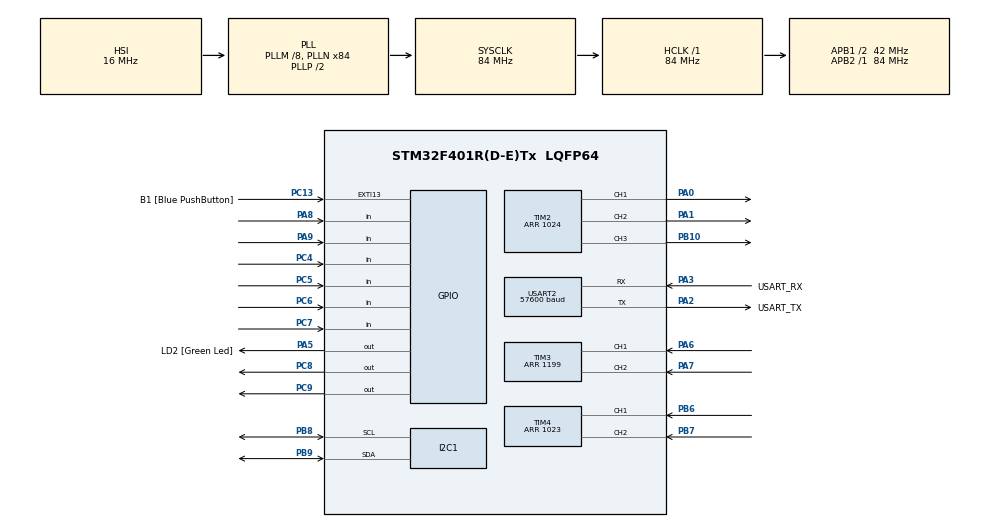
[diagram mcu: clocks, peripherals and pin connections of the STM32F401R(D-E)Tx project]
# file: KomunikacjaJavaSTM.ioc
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Dma.I2C1_TX.1.Direction=DMA_MEMORY_TO_PERIPH
Dma.I2C1_TX.1.FIFOMode=DMA_FIFOMODE_DISABLE
Dma.I2C1_TX.1.Instance=DMA1_Stream7
Dma.I2C1_TX.1.MemDataAlignment=DMA_MDATAALIGN_BYTE
Dma.I2C1_TX.1.MemInc=DMA_MINC_ENABLE
Dma.I2C1_TX.1.Mode=DMA_NORMAL
Dma.I2C1_TX.1.PeriphDataAlignment=DMA_PDATAALIGN_BYTE
Dma.I2C1_TX.1.PeriphInc=DMA_PINC_DISABLE
Dma.I2C1_TX.1.Priority=DMA_PRIORITY_LOW
Dma.Request0=USART2_RX
Dma.Request1=I2C1_TX
Dma.USART2_RX.0.Direction=DMA_PERIPH_TO_MEMORY
Dma.USART2_RX.0.FIFOMode=DMA_FIFOMODE_DISABLE
Dma.USART2_RX.0.Instance=DMA1_Stream5
Dma.USART2_RX.0.MemDataAlignment=DMA_MDATAALIGN_BYTE
Dma.USART2_RX.0.MemInc=DMA_MINC_ENABLE
Dma.USART2_RX.0.Mode=DMA_NORMAL
Dma.USART2_RX.0.PeriphDataAlignment=DMA_PDATAALIGN_BYTE
Dma.USART2_RX.0.PeriphInc=DMA_PINC_DISABLE
Dma.USART2_RX.0.Priority=DMA_PRIORITY_VERY_HIGH
I2C1.I2C_Mode=I2C_Fast
Mcu.Family=STM32F4
Mcu.Name=STM32F401R(D-E)Tx
Mcu.Package=LQFP64
NVIC.DMA1_Stream5_IRQn=true\:0\:0\:false\:false\:true\:false\:true
NVIC.DMA1_Stream7_IRQn=true\:0\:0\:false\:false\:true\:false\:true
NVIC.I2C1_EV_IRQn=true\:0\:0\:false\:false\:true\:true\:true
NVIC.PriorityGroup=NVIC_PRIORITYGROUP_0
NVIC.TIM2_IRQn=true\:0\:0\:false\:false\:true\:true\:true
NVIC.TIM3_IRQn=true\:0\:2\:false\:false\:true\:true\:true
NVIC.TIM4_IRQn=true\:0\:2\:false\:false\:true\:true\:true
NVIC.USART2_IRQn=true\:0\:0\:false\:false\:true\:true\:true
PA0-WKUP.Signal=S_TIM2_CH1_ETR
PA1.Signal=S_TIM2_CH2
PA13.GPIO_Label=TMS
PA13.Mode=Serial_Wire
PA13.Signal=SYS_JTMS-SWDIO
PA14.GPIO_Label=TCK
PA14.Mode=Serial_Wire
PA14.Signal=SYS_JTCK-SWCLK
PA2.GPIO_Label=USART_TX
PA2.GPIO_Mode=GPIO_MODE_AF_PP
PA2.GPIO_PuPd=GPIO_NOPULL
PA2.GPIO_Speed=GPIO_SPEED_FREQ_LOW
PA2.Mode=Asynchronous
PA2.Signal=USART2_TX
PA3.GPIO_Label=USART_RX
PA3.GPIO_Mode=GPIO_MODE_AF_PP
PA3.GPIO_PuPd=GPIO_NOPULL
PA3.GPIO_Speed=GPIO_SPEED_FREQ_LOW
PA3.Mode=Asynchronous
PA3.Signal=USART2_RX
PA5.GPIO_Label=LD2 [Green Led]
PA5.GPIO_Mode=GPIO_MODE_OUTPUT_PP
PA5.GPIO_PuPd=GPIO_NOPULL
PA5.GPIO_Speed=GPIO_SPEED_FREQ_LOW
PA5.Signal=GPIO_Output
PA6.Signal=S_TIM3_CH1
PA7.Signal=S_TIM3_CH2
PA8.GPIO_PuPd=GPIO_PULLUP
PA8.Signal=GPIO_Input
PA9.GPIO_PuPd=GPIO_PULLUP
PA9.Signal=GPIO_Input
PB10.Signal=S_TIM2_CH3
PB3.GPIO_Label=SWO
PB3.Signal=SYS_JTDO-SWO
PB6.Signal=S_TIM4_CH1
PB7.Signal=S_TIM4_CH2
PB8.Mode=I2C
PB8.Signal=I2C1_SCL
PB9.Mode=I2C
PB9.Signal=I2C1_SDA
PC13-ANTI_TAMP.GPIO_Label=B1 [Blue PushButton]
PC13-ANTI_TAMP.GPIO_ModeDefaultEXTI=GPIO_MODE_IT_FALLING
PC13-ANTI_TAMP.GPIO_PuPd=GPIO_NOPULL
PC13-ANTI_TAMP.Signal=GPXTI13
PC14-OSC32_IN.Mode=LSE-External-Oscillator
PC14-OSC32_IN.Signal=RCC_OSC32_IN
PC15-OSC32_OUT.Mode=LSE-External-Oscillator
PC15-OSC32_OUT.Signal=RCC_OSC32_OUT
PC4.GPIO_PuPd=GPIO_PULLUP
PC4.Signal=GPIO_Input
PC5.GPIO_PuPd=GPIO_PULLUP
PC5.Signal=GPIO_Input
PC6.GPIO_PuPd=GPIO_PULLUP
PC6.Signal=GPIO_Input
PC7.GPIO_PuPd=GPIO_PULLUP
PC7.Signal=GPIO_Input
PC8.GPIO_Speed=GPIO_SPEED_FREQ_VERY_HIGH
PC8.PinState=GPIO_PIN_SET
PC8.Signal=GPIO_Output
PC9.GPIO_Speed=GPIO_SPEED_FREQ_VERY_HIGH
PC9.PinState=GPIO_PIN_SET
PC9.Signal=GPIO_Output
PH0\ -\ OSC_IN.Mode=HSE-External-Oscillator
PH0\ -\ OSC_IN.Signal=RCC_OSC_IN
PH1\ -\ OSC_OUT.Mode=HSE-External-Oscillator
PH1\ -\ OSC_OUT.Signal=RCC_OSC_OUT
ProjectManager.HeapSize=0x200
ProjectManager.StackSize=0x400
ProjectManager.TargetToolchain=STM32CubeIDE
RCC.48MHZClocksFreq_Value=24000000
RCC.AHBFreq_Value=84000000
RCC.APB1CLKDivider=RCC_HCLK_DIV2
RCC.APB1Freq_Value=42000000
RCC.APB1TimFreq_Value=84000000
RCC.APB2Freq_Value=84000000
RCC.APB2TimFreq_Value=84000000
RCC.CortexFreq_Value=84000000
RCC.HCLKFreq_Value=84000000
RCC.HSE_VALUE=8000000
RCC.HSI_VALUE=16000000
RCC.PLLM=8
RCC.PLLN=84
RCC.PLLQ=7
RCC.SYSCLKFreq_VALUE=84000000
RCC.SYSCLKSource=RCC_SYSCLKSOURCE_PLLCLK
RCC.VCOOutputFreq_Value=168000000
SH.S_TIM2_CH1_ETR.0=TIM2_CH1,PWM Generation1 CH1
SH.S_TIM2_CH2.0=TIM2_CH2,PWM Generation2 CH2
SH.S_TIM2_CH3.0=TIM2_CH3,PWM Generation3 CH3
SH.S_TIM3_CH1.0=TIM3_CH1,Encoder_Interface
SH.S_TIM3_CH2.0=TIM3_CH2,Encoder_Interface
SH.S_TIM4_CH1.0=TIM4_CH1,Encoder_Interface
SH.S_TIM4_CH2.0=TIM4_CH2,Encoder_Interface
TIM2.Channel-PWM\ Generation1\ CH1=TIM_CHANNEL_1
TIM2.Channel-PWM\ Generation2\ CH2=TIM_CHANNEL_2
TIM2.Channel-PWM\ Generation3\ CH3=TIM_CHANNEL_3
TIM2.OCFastMode_PWM-PWM\ Generation1\ CH1=TIM_OCFAST_ENABLE
TIM2.Period=1024
TIM3.EncoderMode=TIM_ENCODERMODE_TI1
TIM3.IC1Filter=1
TIM3.IC2Filter=1
TIM3.Period=1199
TIM4.AutoReloadPreload=TIM_AUTORELOAD_PRELOAD_ENABLE
TIM4.ClockDivision=TIM_CLOCKDIVISION_DIV1
TIM4.EncoderMode=TIM_ENCODERMODE_TI1
TIM4.IC1Filter=0
TIM4.IC1Polarity=TIM_ICPOLARITY_FALLING
TIM4.IC1Prescaler=TIM_ICPSC_DIV1
TIM4.IC2Filter=0
TIM4.IC2Polarity=TIM_ICPOLARITY_FALLING
TIM4.IC2Prescaler=TIM_ICPSC_DIV1
TIM4.Period=1023
TIM4.TIM_MasterOutputTrigger=TIM_TRGO_RESET
TIM4.TIM_MasterSlaveMode=TIM_MASTERSLAVEMODE_DISABLE
USART2.BaudRate=57600
USART2.VirtualMode=VM_ASYNC
VP_TIM2_VS_ClockSourceINT.Mode=Internal
board=NUCLEO-F401RE

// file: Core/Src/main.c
/* USER CODE BEGIN Header */
/**
  ******************************************************************************
  * @file           : main.c
  * @brief          : Main program body
  ******************************************************************************
  * @attention
  *
  * Copyright (c) 2022 STMicroelectronics.
  * All rights reserved.
  *
  * This software is licensed under terms that can be found in the LICENSE file
  * in the root directory of this software component.
  * If no LICENSE file comes with this software, it is provided AS-IS.
  *
  ******************************************************************************
  */
/* USER CODE END Header */
#include "main.h"
#include "dma.h"
#include "i2c.h"
#include "tim.h"
#include "usart.h"
#include "gpio.h"

/* USER CODE BEGIN Includes */
#include <stdbool.h>
#include "string.h"
#include "GFX.h"
#include "displayAndControl2.h"
#include "engineControl2.h"

/* USER CODE END Includes */

/* USER CODE BEGIN PTD */
#define RxBuf_SIZE 35

/* USER CODE END PTD */

/* USER CODE BEGIN PM */

  // uint8_t communicationFrame  [13] = BIT STARTU= 0xFF , P , I , D , START , STOP , buttonLeft , buttonRight  , manual ,encoderUp,encoderDown,PWM, BIT STOPU = 0x00
 UART_HandleTypeDef huart2;
 DMA_HandleTypeDef hdma_usart2_rx;
 // P,I,D,Start,STOP,LeftButton,RighrButton,manual,encoderUp,encoderDown,PWM
 uint8_t  communicationFrame [RxBuf_SIZE]; // table with data from PC
 uint8_t  RxBuf[RxBuf_SIZE]; // buffer
 uint32_t control;
 uint32_t torque=0; // value of calculated engine torque
 uint8_t static sendCounter=0; // counter witch is controling sending information
 int controlOfComm ; // variable witch is controling flow of application

/* USER CODE END PM */

void SystemClock_Config(void);

/* USER CODE BEGIN 0 */

void HAL_UARTEx_RxEventCallback(UART_HandleTypeDef *huart , uint16_t Size)
{
	if(huart->Instance==USART2)
	{

		for (int i = 0 ; i<RxBuf_SIZE;i++){
						memcpy( &communicationFrame[i],&RxBuf[i] ,Size);

				}

		HAL_UARTEx_ReceiveToIdle_DMA(&huart2,RxBuf,RxBuf_SIZE);

		controlOfComm =1;// one if communication arrived

	}

}

void send_string(char* s)
{
	HAL_UART_Transmit(&huart2, (uint8_t*)s, strlen(s), 1000);
}

/* USER CODE END 0 */

int main(void)
{

  /* MCU Configuration--------------------------------------------------------*/

  /* Reset of all peripherals, Initializes the Flash interface and the Systick. */
  HAL_Init();

  /* Configure the system clock */
  SystemClock_Config();

  /* USER CODE BEGIN SysInit */
  // DMA before usart !!
  /* USER CODE END SysInit */

  /* Initialize all configured peripherals */
  MX_GPIO_Init();
  MX_DMA_Init();
  MX_USART2_UART_Init();
  MX_TIM2_Init();
  MX_TIM3_Init();
  MX_TIM4_Init();
  MX_I2C1_Init();
  /* USER CODE BEGIN 2 */
  // DMA before usart !!

  HAL_UARTEx_ReceiveToIdle_DMA(&huart2,RxBuf,RxBuf_SIZE);
  __HAL_DMA_DISABLE_IT(&hdma_usart2_rx,DMA_IT_HT);

  /* USER CODE END 2 */

  /* Infinite loop */
  /* USER CODE BEGIN WHILE */

    HAL_TIM_PWM_Start(&htim2, TIM_CHANNEL_1); // engine power control
    HAL_TIM_PWM_Start(&htim2, TIM_CHANNEL_2); // engine direction control
    HAL_TIM_PWM_Start(&htim2, TIM_CHANNEL_3); // engine direction control
    HAL_TIM_Encoder_Start(&htim3, TIM_CHANNEL_ALL); // enkoder down
    HAL_TIM_Encoder_Start(&htim4, TIM_CHANNEL_ALL); // encoder up
    SSD1306_init(); // initialization of oled
    firstScreenOled();// painted first oled
    initWork(); // information of ended initialization

  while (1)
  {

	  oledFirstStageControl(communicationFrame); // paint first stage
	  encoderDownstageControl(); // painting encoder down value
	  encoderUpstageControl(); // paiting encoder up value
	  engineControl(communicationFrame, &torque, &controlOfComm); // control engine and calculate pid values

		 if (sendCounter >250)
					            {
			 sending(&torque);// sending information to PC
  	         sendCounter=sendCounter-250;
             }else {

		     sendCounter++;

		            }

    /* USER CODE END WHILE */

  }
}

void SystemClock_Config(void)
{
  RCC_OscInitTypeDef RCC_OscInitStruct = {0};
  RCC_ClkInitTypeDef RCC_ClkInitStruct = {0};

  /** Configure the main internal regulator output voltage
  */
  __HAL_RCC_PWR_CLK_ENABLE();
  __HAL_PWR_VOLTAGESCALING_CONFIG(PWR_REGULATOR_VOLTAGE_SCALE2);
  /** Initializes the RCC Oscillators according to the specified parameters
  * in the RCC_OscInitTypeDef structure.
  */
  RCC_OscInitStruct.OscillatorType = RCC_OSCILLATORTYPE_HSI;
  RCC_OscInitStruct.HSIState = RCC_HSI_ON;
  RCC_OscInitStruct.HSICalibrationValue = RCC_HSICALIBRATION_DEFAULT;
  RCC_OscInitStruct.PLL.PLLState = RCC_PLL_ON;
  RCC_OscInitStruct.PLL.PLLSource = RCC_PLLSOURCE_HSI;
  RCC_OscInitStruct.PLL.PLLM = 8;
  RCC_OscInitStruct.PLL.PLLN = 84;
  RCC_OscInitStruct.PLL.PLLP = RCC_PLLP_DIV2;
  RCC_OscInitStruct.PLL.PLLQ = 7;
  if (HAL_RCC_OscConfig(&RCC_OscInitStruct) != HAL_OK)
  {
    Error_Handler();
  }
  /** Initializes the CPU, AHB and APB buses clocks
  */
  RCC_ClkInitStruct.ClockType = RCC_CLOCKTYPE_HCLK|RCC_CLOCKTYPE_SYSCLK
                              |RCC_CLOCKTYPE_PCLK1|RCC_CLOCKTYPE_PCLK2;
  RCC_ClkInitStruct.SYSCLKSource = RCC_SYSCLKSOURCE_PLLCLK;
  RCC_ClkInitStruct.AHBCLKDivider = RCC_SYSCLK_DIV1;
  RCC_ClkInitStruct.APB1CLKDivider = RCC_HCLK_DIV2;
  RCC_ClkInitStruct.APB2CLKDivider = RCC_HCLK_DIV1;

  if (HAL_RCC_ClockConfig(&RCC_ClkInitStruct, FLASH_LATENCY_2) != HAL_OK)
  {
    Error_Handler();
  }
}

void Error_Handler(void)
{
  __disable_irq();
  while (1)
  {
  }
}
